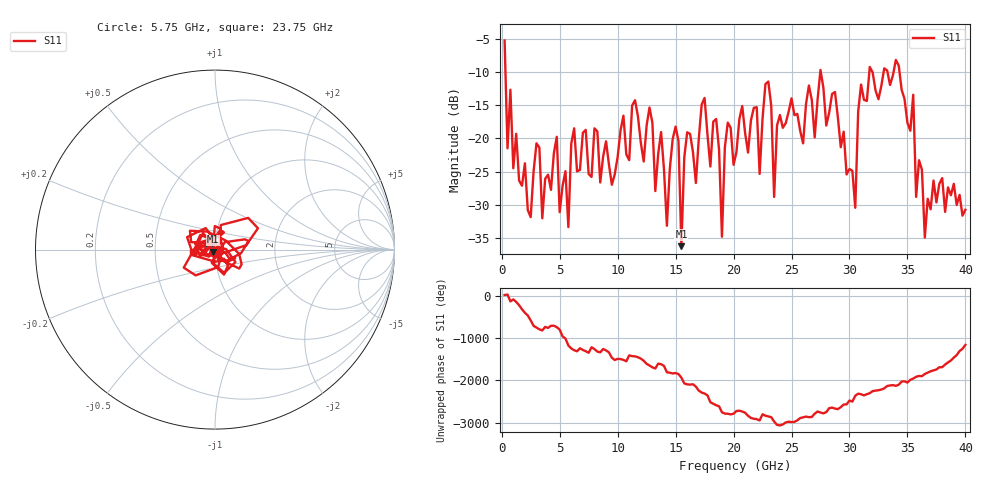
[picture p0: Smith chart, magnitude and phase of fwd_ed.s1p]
!Created with skrf (http://scikit-rf.org).
# GHz S RI R 50.0
!freq ReS11 ImS11
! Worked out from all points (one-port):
!   160 points, 250 MHz to 40 GHz, reference 50 ohm
!   lowest |S11| = -36.2 dB at 15.5 GHz (marker M1), VSWR 1.03, Z = 48.9 - j1.1 ohm
!   |S11| at or under -10 dB: 322.7 MHz to 27.48 GHz (27.16 GHz wide, 195 % of centre); 27.53 GHz to 31.71 GHz (4.188 GHz wide, 14.1 % of centre); 34.31 GHz to end of sweep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
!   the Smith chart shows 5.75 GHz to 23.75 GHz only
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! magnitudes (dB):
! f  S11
! 250 MHz  -5.3
! 500 MHz  -21.5
! 750 MHz  -12.7
! 2.25 GHz  -30.8
! 5.25 GHz  -27.2
! 10.25 GHz  -18.8
! 12.75 GHz  -15.4
! 14.25 GHz  -33.2
! 15.25 GHz  -20.4
! 15.5 GHz  -36.2
! 16 GHz  -19.1
! 16.75 GHz  -26.7
! 17.5 GHz  -13.9
! 18.5 GHz  -17.1
! 19 GHz  -34.8
! 19.5 GHz  -17.6
! 20.25 GHz  -22.1
! 22 GHz  -15.3
! 22.25 GHz  -25.4
! 23 GHz  -11.5
! 23.5 GHz  -28.8
! 25.25 GHz  -16.5
! 27.5 GHz  -9.7
! 30.25 GHz  -24.9
! 31.75 GHz  -9.3
! 35.25 GHz  -18.9
! 36.5 GHz  -34.9
! 40 GHz  -30.8
